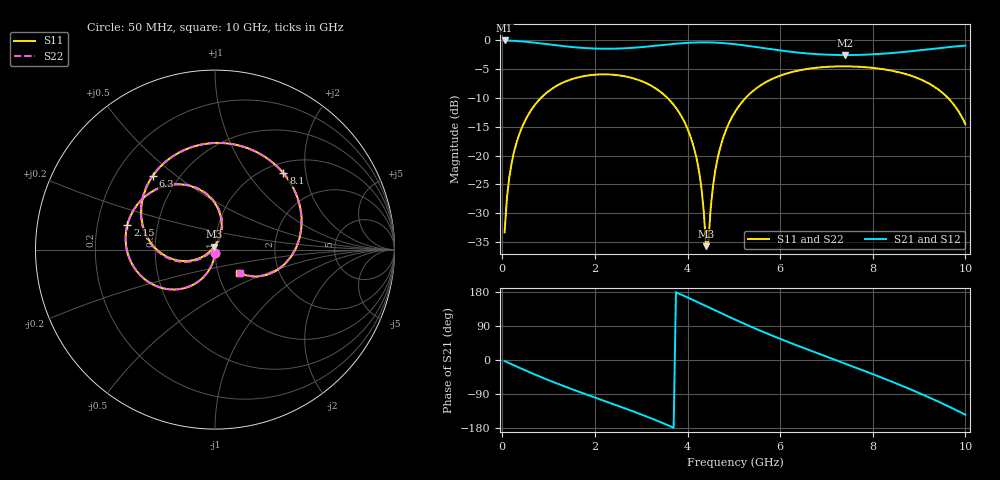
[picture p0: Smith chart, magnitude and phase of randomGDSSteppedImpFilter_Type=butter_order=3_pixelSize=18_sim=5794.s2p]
! freq	dB(S11)	phase(S11)	dB(S12)	phase(S12)
!  dB(S21)	phase(S21)	dB(S22)	phase(S22)
!S-par simulation data
#  GHz  S  DB  R 50
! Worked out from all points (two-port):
!   200 points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, 50 MHz to 10 GHz, reference 50 ohm
!   highest |S21| = -0.01 dB at 50 MHz (marker M1); lowest = -2.5 dB at 7.4 GHz (marker M2)
!   |S21| within 3 dB of the highest: start of sweep to end of sweep
!   lowest |S11| = -35.7 dB at 4.4 GHz (marker M3), VSWR 1.03, Z = 49.5 + j1.56 ohm
!   |S11| at or under -10 dB: start of sweep to 833.3 MHz; 3.568 GHz to 5.253 GHz (1.684 GHz wide, 38.2 % of centre); 9.625 GHz to end of sweep
!   |S22| runs from -37.7 to -4.5 dB; largest |S21 - S12| = 0
!   S11 on the Smith chart (normalised r, x): 50 MHz: 1.00, -0.04; 2.15 GHz: 0.33, +0.12; 6.3 GHz: 0.36, +0.41; 8.1 GHz: 1.19, +1.51; 10 GHz: 1.26, -0.34
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0.05  -33.31 -92.8  -0.01 -2.8  -0.01 -2.8  -33.31 -92.8
0.2  -21.36 -101.6  -0.05 -11.2  -0.05 -11.2  -21.36 -101.6
0.5  -13.80 -118.0  -0.22 -27.5  -0.22 -27.5  -13.80 -118.1
1.1  -8.24 -148.6  -0.78 -58.1  -0.78 -58.1  -8.24 -148.6
1.75  -6.21 -178.5  -1.31 -88.1  -1.31 -88.1  -6.21 -178.6
2.15  -5.89 164.1  -1.44 -105.6  -1.44 -105.6  -5.89 163.9
3.4  -8.82 107.6  -0.85 -163.1  -0.85 -163.1  -8.82 107.1
4.15  -18.97 72.3  -0.36 156.6  -0.36 156.6  -18.99 70.2
4.3  -25.58 71.8  -0.33 148.1  -0.33 148.1  -25.73 67.1
4.4  -35.71 106.4  -0.33 142.3  -0.33 142.3  -37.69 95.1
4.45  -34.99 177.8  -0.34 139.5  -0.34 139.5  -36.68 -171.6
4.55  -25.25 -151.4  -0.36 133.7  -0.36 133.7  -25.41 -146.6
4.65  -20.44 -150.9  -0.40 128.0  -0.40 128.0  -20.49 -148.1
5.05  -12.09 -168.3  -0.68 105.3  -0.68 105.3  -12.10 -167.2
5.7  -7.21 158.9  -1.41 70.8  -1.41 70.8  -7.21 159.5
6.3  -5.40 130.2  -2.04 41.5  -2.04 41.5  -5.40 130.8
6.7  -4.82 111.9  -2.33 22.8  -2.33 22.8  -4.82 112.4
7.4  -4.50 80.3  -2.54 -9.3  -2.54 -9.3  -4.50 80.7
8.1  -4.86 48.2  -2.37 -42.0  -2.37 -42.0  -4.86 48.6
8.35  -5.16 36.5  -2.23 -54.1  -2.23 -54.1  -5.16 36.9
9.25  -7.64 -7.7  -1.50 -100.6  -1.50 -100.6  -7.64 -7.4
10  -14.53 -43.5  -0.90 -144.5  -0.90 -144.5  -14.52 -43.1
